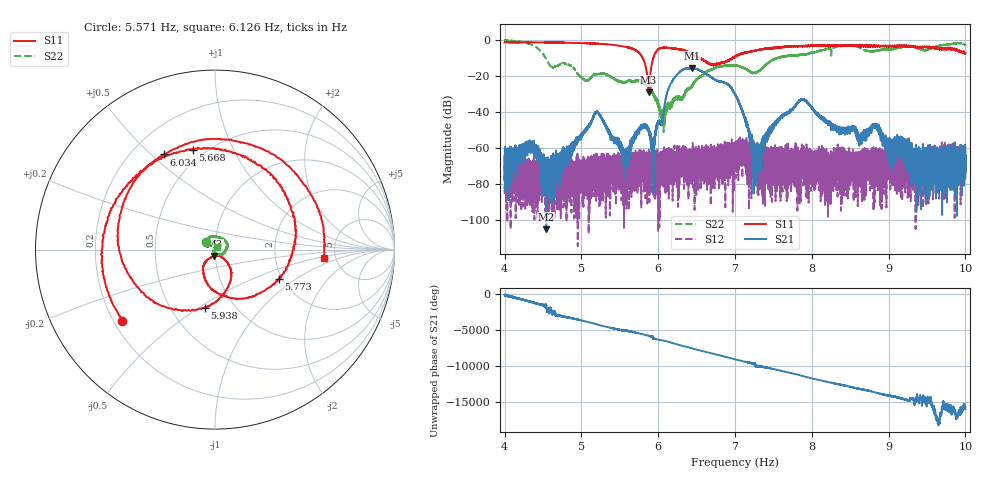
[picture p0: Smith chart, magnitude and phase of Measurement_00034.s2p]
!Created with skrf (http://scikit-rf.org).
# Hz S RI R 50.0
!freq ReS11 ImS11 ReS21 ImS21 ReS12 ImS12 ReS22 ImS22
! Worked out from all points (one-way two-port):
!   14001 points, 4 Hz to 10 Hz, reference 50 ohm
!   highest |S21| = -15.53 dB at 6.436 Hz (marker M1); lowest = -105.1 dB at 4.54 Hz (marker M2)
!   lowest |S11| = -29.1 dB at 5.875 Hz (marker M3), VSWR 1.07, Z = 49.5 - j3.46 ohm
!   |S11| at or under -10 dB: 5.799 Hz to 5.935 Hz (135.8 mHz wide, 2.32 % of centre); 5.935779 Hz to 5.935952 Hz (172.7 uHz wide, 0.00291 % of centre); 6.538 Hz to 6.963 Hz (424.9 mHz wide, 6.29 % of centre) (the widest 3 of 6)
!   |S22| runs from -51.0 to -0.2 dB; largest |S21 - S12| = 0.17
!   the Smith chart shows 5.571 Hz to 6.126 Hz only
!   S11 on the Smith chart (normalised r, x): 5.571 Hz: 0.23, -0.32; 5.668 Hz: 0.43, +0.71; 5.773 Hz: 1.92, -0.74; 5.938 Hz: 0.73, -0.54; 6.034 Hz: 0.33, +0.55; 6.126 Hz: 4.01, -0.62
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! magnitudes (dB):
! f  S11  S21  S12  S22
! 4 Hz  -1.1  -72.7  -74.5  -0.2
! 4.344 Hz  -1.2  -59.4  -74.3  -2.4
! 4.54 Hz  -1.3  -105.1  -70.8  -10.4
! 5 Hz  -1.7  -53.5  -82.8  -20.7
! 5.21 Hz  -2.0  -40.0  -70.8  -18.9
! 5.571 Hz  -3.7  -63.4  -69.4  -23.6
! 5.668 Hz  -4.9  -56.0  -69.5  -23.0
! 5.773 Hz  -8.1  -48.6  -73.4  -22.4
! 5.875 Hz  -29.1  -49.8  -72.7  -25.9
! 5.938 Hz  -9.6  -65.0  -70.9  -30.0
! 6 Hz  -5.1  -45.4  -69.8  -35.6
! 6.034 Hz  -4.4  -46.2  -75.3  -38.8
! 6.126 Hz  -4.3  -28.1  -75.9  -35.4
! 6.436 Hz  -7.6  -15.5  -69.7  -25.9
! 7 Hz  -9.1  -29.9  -70.7  -14.0
! 7.272 Hz  -5.7  -67.9  -75.1  -17.9
! 7.606 Hz  -4.0  -42.4  -60.2  -9.4
! 8 Hz  -3.3  -37.6  -70.3  -6.9
! 8.626 Hz  -2.9  -54.5  -67.8  -4.3
! 8.835 Hz  -3.2  -47.1  -68.1  -5.9
! 9 Hz  -3.4  -58.7  -63.2  -5.1
! 10 Hz  -7.2  -64.0  -61.3  -3.1
